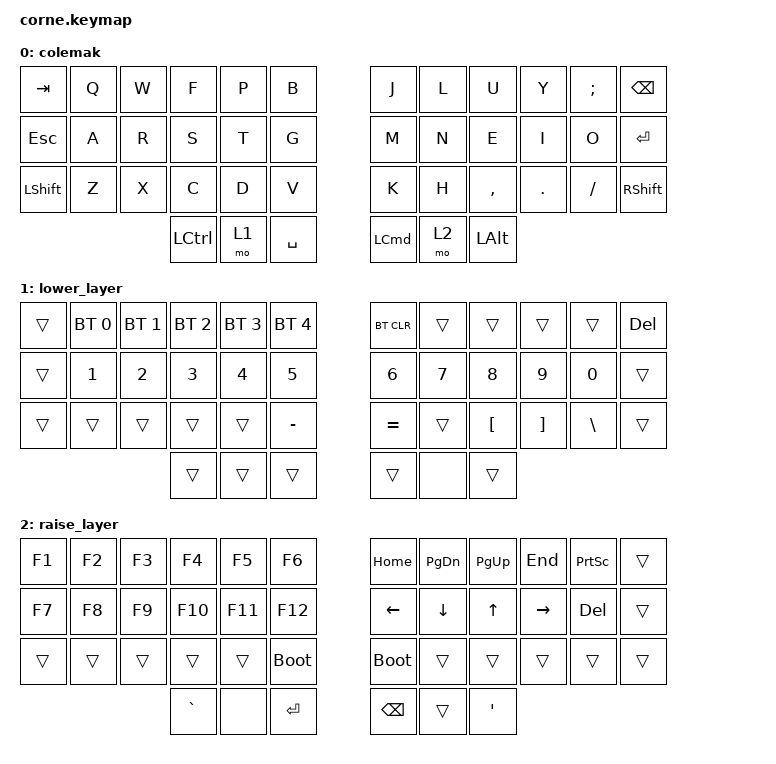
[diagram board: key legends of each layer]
/*
 * Copyright (c) 2020 The ZMK Contributors
 *
 * SPDX-License-Identifier: MIT
 */

#include <behaviors.dtsi>
#include <dt-bindings/zmk/bt.h>
#include <dt-bindings/zmk/keys.h>

/ {
    keymap {
        compatible = "zmk,keymap";

        colemak {
            // -----------------------------------------------------------------------------------------
            // |  TAB |  Q  |  W  |  E  |  R  |  T  |   |  Y  |  U   |  I  |  O  |  P  | BKSP |
            // | CTRL |  A  |  S  |  D  |  F  |  G  |   |  H  |  J   |  K  |  L  |  ;  |  '   |
            // | SHFT |  Z  |  X  |  C  |  V  |  B  |   |  N  |  M   |  ,  |  .  |  /  | ESC  |
            //                    | GUI | LWR | SPC |   | ENT | RSE  | ALT |

            bindings = <
&kp TAB         &kp Q  &kp W  &kp F      &kp P  &kp B        &kp J             &kp L  &kp U         &kp Y    &kp SEMICOLON  &kp BACKSPACE
&kp ESCAPE      &kp A  &kp R  &kp S      &kp T  &kp G        &kp M             &kp N  &kp E         &kp I    &kp O          &kp ENTER
&kp LEFT_SHIFT  &kp Z  &kp X  &kp C      &kp D  &kp V        &kp K             &kp H  &kp COMMA     &kp DOT  &kp FSLH       &kp RIGHT_SHIFT
                              &kp LCTRL  &mo 1  &kp SPACE    &kp LEFT_COMMAND  &mo 2  &kp LEFT_ALT
            >;
        };

        lower_layer {
            // -----------------------------------------------------------------------------------------
            // |  TAB |  1  |  2  |  3  |  4  |  5  |   |  6  |  7  |  8  |  9  |  0  | BKSP |
            // | BTCLR| BT1 | BT2 | BT3 | BT4 | BT5 |   | LFT | DWN |  UP | RGT |     |      |
            // | SHFT |     |     |     |     |     |   |     |     |     |     |     |      |
            //                    | GUI |     | SPC |   | ENT |     | ALT |

            bindings = <
&trans  &bt BT_SEL 0  &bt BT_SEL 1  &bt BT_SEL 2  &bt BT_SEL 3  &bt BT_SEL 4    &bt BT_CLR  &trans  &trans            &trans             &trans         &kp DELETE
&trans  &kp N1        &kp N2        &kp N3        &kp N4        &kp N5          &kp N6      &kp N7  &kp N8            &kp N9             &kp N0         &trans
&trans  &trans        &trans        &trans        &trans        &kp MINUS       &kp EQUAL   &trans  &kp LEFT_BRACKET  &kp RIGHT_BRACKET  &kp BACKSLASH  &trans
                                    &trans        &trans        &trans          &trans      &none   &trans
            >;
        };

        raise_layer {
            // -----------------------------------------------------------------------------------------
            // |  TAB |  !  |  @  |  #  |  $  |  %  |   |  ^  |  &  |  *  |  (  |  )  | BKSP |
            // | CTRL |     |     |     |     |     |   |  -  |  =  |  [  |  ]  |  \  |  `   |
            // | SHFT |     |     |     |     |     |   |  _  |  +  |  {  |  }  | "|" |  ~   |
            //                    | GUI |     | SPC |   | ENT |     | ALT |

            bindings = <
&kp F1  &kp F2  &kp F3  &kp F4     &kp F5   &kp F6         &kp HOME       &kp PAGE_DOWN  &kp PG_UP         &kp END    &kp PRINTSCREEN  &trans
&kp F7  &kp F8  &kp F9  &kp F10    &kp F11  &kp F12        &kp LEFT       &kp DOWN       &kp UP_ARROW      &kp RIGHT  &kp DEL          &trans
&trans  &trans  &trans  &trans     &trans   &bootloader    &bootloader    &trans         &trans            &trans     &trans           &trans
                        &kp GRAVE  &none    &kp ENTER      &kp BACKSPACE  &trans         &kp SINGLE_QUOTE
            >;
        };
    };
};
